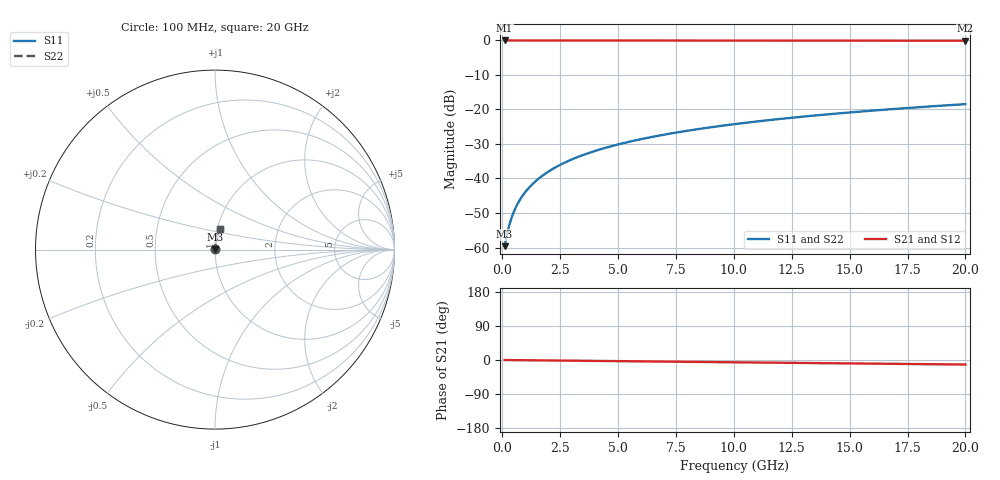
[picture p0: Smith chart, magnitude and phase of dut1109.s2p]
! Touchstone file exported from HFSS 2026.1.0
!  File:  C:/ffzhzh/LocalFiles/Ansys_Project_Files/temp_train_TSV_1109_1783190681_22436.aedt
!  Generated:  02:46:50 AM Jul  5, 2026
!  Design:  TSV
!  Project:  temp_train_TSV_1109_1783190681_22436
! Variables:
!  h_bsmrdl = 2um
!  h_ox = 20um
!  h_rdl = 5um
!  h_sub = 97.86um
!  h_tmrdl = 5um
!  h_tsv = 97.86um
!  h_via = 3um
!  l_bsmrdl = 300um
!  l_sub = 407.48um
!  l_tmrdl = 200um
!  m_sub = 200um
!  pitch = 45.04um
!  r_tsv = 3.74um
!  s_tmrdl = 10um
!  w_bsmrdl = 18um
!  w_sub = 500um
!  w_tmrdl = 12um
!  x_tsv_center1 = 206um
!  x_tsv_center2 = 524um
!  x_tsv_center3 = 736um
!  x_tsv_center4 = 1054um
!  x_tsv_center5 = 1266um
!  x_tsv_center6 = 1584um
# GHz S MA R 50.000000
! Terminal data exported
! Port[1] = TSV1_1_T1
! Port[2] = TSV1_1_T2
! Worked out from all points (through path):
!   200 points, 100 MHz to 20 GHz, reference 50 ohm
!   highest |S21| = -0.01 dB at 100 MHz (marker M1); lowest = -0.1 dB at 20 GHz (marker M2)
!   group delay of S21, straight-line fit = 1.66 ps
!   lowest |S11| = -59.6 dB at 100 MHz (marker M3), VSWR 1.00, Z = 50.1 + j0.0646 ohm
!   |S11| at or under -10 dB: start of sweep to end of sweep
!   |S22| runs from -59.6 to -18.5 dB; largest |S21 - S12| = 4.4e-15
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0.1  0.001045 38.1  0.9992 -0.1  0.9992 -0.1  0.001045 38.1
! Gamma 0 0 0 0
! Port Impedance 50 0 50 0
0.2  0.001533 57.0  0.9992 -0.1  0.9992 -0.1  0.001533 57.0
0.3  0.002101 66.2  0.9992 -0.2  0.9992 -0.2  0.002101 66.2
0.4  0.002697 71.3  0.9991 -0.2  0.9991 -0.2  0.002697 71.3
0.5  0.003304 74.5  0.9991 -0.3  0.9991 -0.3  0.003304 74.5
0.6  0.003917 76.7  0.9991 -0.4  0.9991 -0.4  0.003917 76.7
0.8  0.005155 79.5  0.9991 -0.5  0.9991 -0.5  0.005155 79.5
1.1  0.007023 81.8  0.999 -0.7  0.999 -0.7  0.007023 81.8
1.5  0.009522 83.3  0.999 -0.9  0.999 -0.9  0.009522 83.3
1.8  0.0114 83.9  0.9989 -1.1  0.9989 -1.1  0.0114 83.9
2.1  0.01327 84.2  0.9989 -1.3  0.9989 -1.3  0.01327 84.2
2.7  0.017 84.5  0.9987 -1.7  0.9987 -1.7  0.017 84.5
3.5  0.02195 84.5  0.9985 -2.1  0.9985 -2.1  0.02195 84.5
4.2  0.02625 84.4  0.9982 -2.6  0.9982 -2.6  0.02625 84.4
5  0.03114 84.1  0.998 -3.1  0.998 -3.1  0.03114 84.1
5.9  0.03659 83.7  0.9976 -3.6  0.9976 -3.6  0.03659 83.7
6.8  0.04201 83.3  0.9972 -4.1  0.9972 -4.1  0.04201 83.3
8.3  0.05099 82.6  0.9966 -5.0  0.9966 -5.0  0.05099 82.6
10.1  0.06169 81.7  0.9957 -6.1  0.9957 -6.1  0.06169 81.7
13.4  0.08115 80.0  0.994 -8.1  0.994 -8.1  0.08115 80.0
16.7  0.1004 78.3  0.9919 -10.0  0.9919 -10.0  0.1004 78.3
20  0.1194 76.5  0.9896 -11.9  0.9896 -11.9  0.1194 76.5
